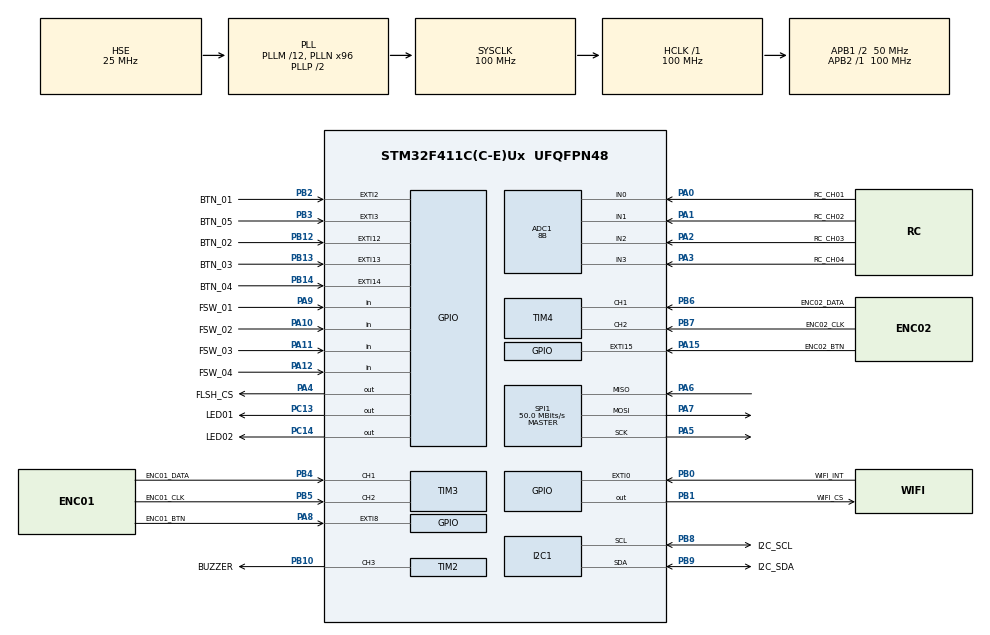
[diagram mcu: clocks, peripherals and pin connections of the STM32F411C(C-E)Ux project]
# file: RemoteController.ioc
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ADC1.Channel-0\#ChannelRegularConversion=ADC_CHANNEL_0
ADC1.Channel-2\#ChannelRegularConversion=ADC_CHANNEL_1
ADC1.DiscontinuousConvMode=DISABLE
ADC1.NbrOfConversion=2
ADC1.NbrOfConversionFlag=1
ADC1.Rank-0\#ChannelRegularConversion=1
ADC1.Rank-2\#ChannelRegularConversion=2
ADC1.Resolution=ADC_RESOLUTION_8B
ADC1.SamplingTime-0\#ChannelRegularConversion=ADC_SAMPLETIME_84CYCLES
ADC1.SamplingTime-2\#ChannelRegularConversion=ADC_SAMPLETIME_84CYCLES
ADC1.ScanConvMode=ENABLE
ADC1.master=1
I2C1.I2C_Mode=I2C_Fast
Mcu.Family=STM32F4
Mcu.Name=STM32F411C(C-E)Ux
Mcu.Package=UFQFPN48
NVIC.PriorityGroup=NVIC_PRIORITYGROUP_4
PA0-WKUP.GPIO_Label=RC_CH01
PA0-WKUP.Signal=ADCx_IN0
PA1.GPIO_Label=RC_CH02
PA1.Signal=ADCx_IN1
PA10.GPIO_Label=FSW_02
PA10.Signal=GPIO_Input
PA11.GPIO_Label=FSW_03
PA11.Signal=GPIO_Input
PA12.GPIO_Label=FSW_04
PA12.Signal=GPIO_Input
PA13.Mode=Serial_Wire
PA13.Signal=SYS_JTMS-SWDIO
PA14.Mode=Serial_Wire
PA14.Signal=SYS_JTCK-SWCLK
PA15.GPIO_Label=ENC02_BTN
PA15.Signal=GPXTI15
PA2.GPIO_Label=RC_CH03
PA2.Signal=ADCx_IN2
PA3.GPIO_Label=RC_CH04
PA3.Signal=ADCx_IN3
PA4.GPIO_Label=FLSH_CS
PA4.Signal=GPIO_Output
PA5.Mode=Full_Duplex_Master
PA5.Signal=SPI1_SCK
PA6.Mode=Full_Duplex_Master
PA6.Signal=SPI1_MISO
PA7.Mode=Full_Duplex_Master
PA7.Signal=SPI1_MOSI
PA8.GPIO_Label=ENC01_BTN
PA8.Signal=GPXTI8
PA9.GPIO_Label=FSW_01
PA9.Signal=GPIO_Input
PB0.GPIO_Label=WIFI_INT
PB0.Signal=GPXTI0
PB1.GPIO_Label=WIFI_CS
PB1.Signal=GPIO_Output
PB10.GPIO_Label=BUZZER
PB10.Signal=S_TIM2_CH3
PB12.GPIO_Label=BTN_02
PB12.Signal=GPXTI12
PB13.GPIO_Label=BTN_03
PB13.Signal=GPXTI13
PB14.GPIO_Label=BTN_04
PB14.Signal=GPXTI14
PB2.GPIO_Label=BTN_01
PB2.Signal=GPXTI2
PB3.GPIO_Label=BTN_05
PB3.Signal=GPXTI3
PB4.GPIO_Label=ENC01_DATA
PB4.Signal=S_TIM3_CH1
PB5.GPIO_Label=ENC01_CLK
PB5.Signal=S_TIM3_CH2
PB6.GPIO_Label=ENC02_DATA
PB6.Signal=S_TIM4_CH1
PB7.GPIO_Label=ENC02_CLK
PB7.Signal=S_TIM4_CH2
PB8.GPIO_Label=I2C_SCL
PB8.Mode=I2C
PB8.Signal=I2C1_SCL
PB9.GPIO_Label=I2C_SDA
PB9.Mode=I2C
PB9.Signal=I2C1_SDA
PC13-ANTI_TAMP.GPIO_Label=LED01
PC13-ANTI_TAMP.Signal=GPIO_Output
PC14-OSC32_IN.GPIO_Label=LED02
PC14-OSC32_IN.Signal=GPIO_Output
PH0\ -\ OSC_IN.Mode=HSE-External-Oscillator
PH0\ -\ OSC_IN.Signal=RCC_OSC_IN
PH1\ -\ OSC_OUT.Mode=HSE-External-Oscillator
PH1\ -\ OSC_OUT.Signal=RCC_OSC_OUT
ProjectManager.HeapSize=0x200
ProjectManager.StackSize=0x400
ProjectManager.TargetToolchain=STM32CubeIDE
RCC.48MHZClocksFreq_Value=50000000
RCC.AHBFreq_Value=100000000
RCC.APB1CLKDivider=RCC_HCLK_DIV2
RCC.APB1Freq_Value=50000000
RCC.APB1TimFreq_Value=100000000
RCC.APB2Freq_Value=100000000
RCC.APB2TimFreq_Value=100000000
RCC.CortexFreq_Value=100000000
RCC.HCLKFreq_Value=100000000
RCC.HSE_VALUE=25000000
RCC.HSI_VALUE=16000000
RCC.LSE_VALUE=32768
RCC.PLLM=12
RCC.PLLN=96
RCC.PLLSourceVirtual=RCC_PLLSOURCE_HSE
RCC.SYSCLKFreq_VALUE=100000000
RCC.SYSCLKSource=RCC_SYSCLKSOURCE_PLLCLK
RCC.VCOOutputFreq_Value=200000000
SH.ADCx_IN0.0=ADC1_IN0,IN0
SH.ADCx_IN1.0=ADC1_IN1,IN1
SH.ADCx_IN2.0=ADC1_IN2,IN2
SH.ADCx_IN3.0=ADC1_IN3,IN3
SH.S_TIM2_CH3.0=TIM2_CH3,PWM Generation3 CH3
SH.S_TIM3_CH1.0=TIM3_CH1,Encoder_Interface
SH.S_TIM3_CH2.0=TIM3_CH2,Encoder_Interface
SH.S_TIM4_CH1.0=TIM4_CH1,Encoder_Interface
SH.S_TIM4_CH2.0=TIM4_CH2,Encoder_Interface
SPI1.BaudRatePrescaler=SPI_BAUDRATEPRESCALER_2
SPI1.CalculateBaudRate=50.0 MBits/s
SPI1.Direction=SPI_DIRECTION_2LINES
SPI1.Mode=SPI_MODE_MASTER
SPI1.VirtualType=VM_MASTER
TIM2.Channel-PWM\ Generation3\ CH3=TIM_CHANNEL_3
board=custom

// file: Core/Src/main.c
/* USER CODE BEGIN Header */
/**
 ******************************************************************************
 * @file           : main.c
 * @brief          : Main program body
 ******************************************************************************
 * @attention
 *
 * Copyright (c) 2025 STMicroelectronics.
 * All rights reserved.
 *
 * This software is licensed under terms that can be found in the LICENSE file
 * in the root directory of this software component.
 * If no LICENSE file comes with this software, it is provided AS-IS.
 *
 ******************************************************************************
 */
/* USER CODE END Header */
#include "main.h"

/* USER CODE BEGIN Includes */
#include "stdio.h"
#include <stdint.h>
#include <u8g2.h>
/* USER CODE END Includes */

/* USER CODE BEGIN PD */
#define FILTER_DEPTH 10
/* USER CODE END PD */

ADC_HandleTypeDef hadc1;

I2C_HandleTypeDef hi2c1;

SPI_HandleTypeDef hspi1;

TIM_HandleTypeDef htim2;
TIM_HandleTypeDef htim3;
TIM_HandleTypeDef htim4;

/* USER CODE BEGIN PV */
uint16_t adcBuffer[FILTER_DEPTH];
uint32_t sum = 0;
uint8_t idx = 0;

u8g2_t u8g2;
/* USER CODE END PV */

void SystemClock_Config(void);
static void MX_GPIO_Init(void);
static void MX_ADC1_Init(void);
static void MX_I2C1_Init(void);
static void MX_SPI1_Init(void);
static void MX_TIM2_Init(void);
static void MX_TIM3_Init(void);
static void MX_TIM4_Init(void);

/* USER CODE BEGIN 0 */
uint16_t filter_adc(uint16_t new_sample)
{
	sum -= adcBuffer[idx];         // Remove old sample
	adcBuffer[idx] = new_sample;   // Add new sample
	sum += new_sample;

	idx++;
	if (idx >= FILTER_DEPTH) idx = 0;

	return (uint16_t)(sum / FILTER_DEPTH);
}

void readControlChannels()
{
	uint16_t adcValues[2];

	HAL_ADC_Start(&hadc1);  // Start ADC

	for (int i = 0; i < 2; i++) {
		HAL_ADC_PollForConversion(&hadc1, HAL_MAX_DELAY);      // Wait for conversion
		adcValues[i] = HAL_ADC_GetValue(&hadc1);               // Read channel value
	}

	HAL_ADC_Stop(&hadc1);

	char ch1[16];
	char ch2[16];

	sprintf(ch1, "%d", (adcValues[0]<<4));
	sprintf(ch2, "%d", (adcValues[1]<<4));

	u8g2_ClearBuffer(&u8g2);
	u8g2_SetFont(&u8g2, u8g2_font_5x8_tr);
	u8g2_DrawStr(&u8g2, 0, 6, ch1);
	u8g2_DrawStr(&u8g2, 0, 15, ch2);
	u8g2_SendBuffer(&u8g2);
}

uint8_t u8x8_byte_hw_i2c_hal(u8x8_t *u8g2, uint8_t msg, uint8_t arg_int, void *arg_ptr)
{
	/* u8g2/u8x8 will never send more than 32 bytes between START_TRANSFER and END_TRANSFER */
	/* add extra byte for the i2c address */
	static uint8_t buffer[34];
	static uint8_t buf_idx;
	uint8_t *data;
	switch(msg)  {
	case U8X8_MSG_BYTE_SEND:
		data = (uint8_t *)arg_ptr;
		while( arg_int > 0 )
		{
			buffer[buf_idx++] = *data;
			data++;
			arg_int--;
		}
		break;
	case U8X8_MSG_BYTE_INIT:
		/* add your custom code to init i2c subsystem */
		break;
	case U8X8_MSG_BYTE_SET_DC:
		/* ignored for i2c */
		break;
	case U8X8_MSG_BYTE_START_TRANSFER:
		buf_idx = 0;
		break;
	case U8X8_MSG_BYTE_END_TRANSFER:
		HAL_I2C_Master_Transmit(&hi2c1, u8x8_GetI2CAddress(u8g2), (uint8_t *)buffer, buf_idx, HAL_MAX_DELAY);
		break;
	default:
		return 0;
	}
	return 1;
}

uint8_t u8x8_gpio_and_delay_stm32_hal(u8x8_t *u8x8, uint8_t msg, uint8_t arg_int, void *arg_ptr)
{
	switch(msg) {
	case U8X8_MSG_DELAY_MILLI:
		HAL_Delay(arg_int);
		break;
		// Add GPIO control if needed
	default:
		break;
	}

	return 1;
}

void init_display()
{
	u8g2_Setup_ssd1306_i2c_128x64_noname_f(&u8g2, U8G2_R0, u8x8_byte_hw_i2c_hal, u8x8_gpio_and_delay_stm32_hal);
	u8g2_SetI2CAddress(&u8g2, 0x78);  // OLED address, often 0x78 or 0x7A
	u8g2_InitDisplay(&u8g2);
	u8g2_SetPowerSave(&u8g2, 0);
}
/* USER CODE END 0 */

int main(void)
{

	/* MCU Configuration--------------------------------------------------------*/

	/* Reset of all peripherals, Initializes the Flash interface and the Systick. */
	HAL_Init();

	/* Configure the system clock */
	SystemClock_Config();

	/* Initialize all configured peripherals */
	MX_GPIO_Init();
	MX_ADC1_Init();
	MX_I2C1_Init();
	MX_SPI1_Init();
	MX_TIM2_Init();
	MX_TIM3_Init();
	MX_TIM4_Init();
	/* USER CODE BEGIN 2 */
	init_display();
	/* USER CODE END 2 */

	/* Infinite loop */
	/* USER CODE BEGIN WHILE */
	while (1)
	{
		readControlChannels();
		/* USER CODE END WHILE */

	}
}

void SystemClock_Config(void)
{
	RCC_OscInitTypeDef RCC_OscInitStruct = {0};
	RCC_ClkInitTypeDef RCC_ClkInitStruct = {0};

	/** Configure the main internal regulator output voltage
	 */
	__HAL_RCC_PWR_CLK_ENABLE();
	__HAL_PWR_VOLTAGESCALING_CONFIG(PWR_REGULATOR_VOLTAGE_SCALE1);

	/** Initializes the RCC Oscillators according to the specified parameters
	 * in the RCC_OscInitTypeDef structure.
	 */
	RCC_OscInitStruct.OscillatorType = RCC_OSCILLATORTYPE_HSE;
	RCC_OscInitStruct.HSEState = RCC_HSE_ON;
	RCC_OscInitStruct.PLL.PLLState = RCC_PLL_ON;
	RCC_OscInitStruct.PLL.PLLSource = RCC_PLLSOURCE_HSE;
	RCC_OscInitStruct.PLL.PLLM = 12;
	RCC_OscInitStruct.PLL.PLLN = 96;
	RCC_OscInitStruct.PLL.PLLP = RCC_PLLP_DIV2;
	RCC_OscInitStruct.PLL.PLLQ = 4;
	if (HAL_RCC_OscConfig(&RCC_OscInitStruct) != HAL_OK)
	{
		Error_Handler();
	}

	/** Initializes the CPU, AHB and APB buses clocks
	 */
	RCC_ClkInitStruct.ClockType = RCC_CLOCKTYPE_HCLK|RCC_CLOCKTYPE_SYSCLK
			|RCC_CLOCKTYPE_PCLK1|RCC_CLOCKTYPE_PCLK2;
	RCC_ClkInitStruct.SYSCLKSource = RCC_SYSCLKSOURCE_PLLCLK;
	RCC_ClkInitStruct.AHBCLKDivider = RCC_SYSCLK_DIV1;
	RCC_ClkInitStruct.APB1CLKDivider = RCC_HCLK_DIV2;
	RCC_ClkInitStruct.APB2CLKDivider = RCC_HCLK_DIV1;

	if (HAL_RCC_ClockConfig(&RCC_ClkInitStruct, FLASH_LATENCY_3) != HAL_OK)
	{
		Error_Handler();
	}
}

static void MX_ADC1_Init(void)
{

	ADC_ChannelConfTypeDef sConfig = {0};

	/** Configure the global features of the ADC (Clock, Resolution, Data Alignment and number of conversion)
	 */
	hadc1.Instance = ADC1;
	hadc1.Init.ClockPrescaler = ADC_CLOCK_SYNC_PCLK_DIV4;
	hadc1.Init.Resolution = ADC_RESOLUTION_8B;
	hadc1.Init.ScanConvMode = ENABLE;
	hadc1.Init.ContinuousConvMode = DISABLE;
	hadc1.Init.DiscontinuousConvMode = DISABLE;
	hadc1.Init.ExternalTrigConvEdge = ADC_EXTERNALTRIGCONVEDGE_NONE;
	hadc1.Init.ExternalTrigConv = ADC_SOFTWARE_START;
	hadc1.Init.DataAlign = ADC_DATAALIGN_RIGHT;
	hadc1.Init.NbrOfConversion = 2;
	hadc1.Init.DMAContinuousRequests = DISABLE;
	hadc1.Init.EOCSelection = ADC_EOC_SINGLE_CONV;
	if (HAL_ADC_Init(&hadc1) != HAL_OK)
	{
		Error_Handler();
	}

	/** Configure for the selected ADC regular channel its corresponding rank in the sequencer and its sample time.
	 */
	sConfig.Channel = ADC_CHANNEL_0;
	sConfig.Rank = 1;
	sConfig.SamplingTime = ADC_SAMPLETIME_84CYCLES;
	if (HAL_ADC_ConfigChannel(&hadc1, &sConfig) != HAL_OK)
	{
		Error_Handler();
	}

	/** Configure for the selected ADC regular channel its corresponding rank in the sequencer and its sample time.
	 */
	sConfig.Channel = ADC_CHANNEL_1;
	sConfig.Rank = 2;
	if (HAL_ADC_ConfigChannel(&hadc1, &sConfig) != HAL_OK)
	{
		Error_Handler();
	}

}

static void MX_I2C1_Init(void)
{

	hi2c1.Instance = I2C1;
	hi2c1.Init.ClockSpeed = 400000;
	hi2c1.Init.DutyCycle = I2C_DUTYCYCLE_2;
	hi2c1.Init.OwnAddress1 = 0;
	hi2c1.Init.AddressingMode = I2C_ADDRESSINGMODE_7BIT;
	hi2c1.Init.DualAddressMode = I2C_DUALADDRESS_DISABLE;
	hi2c1.Init.OwnAddress2 = 0;
	hi2c1.Init.GeneralCallMode = I2C_GENERALCALL_DISABLE;
	hi2c1.Init.NoStretchMode = I2C_NOSTRETCH_DISABLE;
	if (HAL_I2C_Init(&hi2c1) != HAL_OK)
	{
		Error_Handler();
	}

}

static void MX_SPI1_Init(void)
{

	/* SPI1 parameter configuration*/
	hspi1.Instance = SPI1;
	hspi1.Init.Mode = SPI_MODE_MASTER;
	hspi1.Init.Direction = SPI_DIRECTION_2LINES;
	hspi1.Init.DataSize = SPI_DATASIZE_8BIT;
	hspi1.Init.CLKPolarity = SPI_POLARITY_LOW;
	hspi1.Init.CLKPhase = SPI_PHASE_1EDGE;
	hspi1.Init.NSS = SPI_NSS_SOFT;
	hspi1.Init.BaudRatePrescaler = SPI_BAUDRATEPRESCALER_2;
	hspi1.Init.FirstBit = SPI_FIRSTBIT_MSB;
	hspi1.Init.TIMode = SPI_TIMODE_DISABLE;
	hspi1.Init.CRCCalculation = SPI_CRCCALCULATION_DISABLE;
	hspi1.Init.CRCPolynomial = 10;
	if (HAL_SPI_Init(&hspi1) != HAL_OK)
	{
		Error_Handler();
	}

}

static void MX_TIM2_Init(void)
{

	TIM_MasterConfigTypeDef sMasterConfig = {0};
	TIM_OC_InitTypeDef sConfigOC = {0};

	htim2.Instance = TIM2;
	htim2.Init.Prescaler = 0;
	htim2.Init.CounterMode = TIM_COUNTERMODE_UP;
	htim2.Init.Period = 4294967295;
	htim2.Init.ClockDivision = TIM_CLOCKDIVISION_DIV1;
	htim2.Init.AutoReloadPreload = TIM_AUTORELOAD_PRELOAD_DISABLE;
	if (HAL_TIM_PWM_Init(&htim2) != HAL_OK)
	{
		Error_Handler();
	}
	sMasterConfig.MasterOutputTrigger = TIM_TRGO_RESET;
	sMasterConfig.MasterSlaveMode = TIM_MASTERSLAVEMODE_DISABLE;
	if (HAL_TIMEx_MasterConfigSynchronization(&htim2, &sMasterConfig) != HAL_OK)
	{
		Error_Handler();
	}
	sConfigOC.OCMode = TIM_OCMODE_PWM1;
	sConfigOC.Pulse = 0;
	sConfigOC.OCPolarity = TIM_OCPOLARITY_HIGH;
	sConfigOC.OCFastMode = TIM_OCFAST_DISABLE;
	if (HAL_TIM_PWM_ConfigChannel(&htim2, &sConfigOC, TIM_CHANNEL_3) != HAL_OK)
	{
		Error_Handler();
	}
	HAL_TIM_MspPostInit(&htim2);

}

static void MX_TIM3_Init(void)
{

	TIM_Encoder_InitTypeDef sConfig = {0};
	TIM_MasterConfigTypeDef sMasterConfig = {0};

	htim3.Instance = TIM3;
	htim3.Init.Prescaler = 0;
	htim3.Init.CounterMode = TIM_COUNTERMODE_UP;
	htim3.Init.Period = 65535;
	htim3.Init.ClockDivision = TIM_CLOCKDIVISION_DIV1;
	htim3.Init.AutoReloadPreload = TIM_AUTORELOAD_PRELOAD_DISABLE;
	sConfig.EncoderMode = TIM_ENCODERMODE_TI1;
	sConfig.IC1Polarity = TIM_ICPOLARITY_RISING;
	sConfig.IC1Selection = TIM_ICSELECTION_DIRECTTI;
	sConfig.IC1Prescaler = TIM_ICPSC_DIV1;
	sConfig.IC1Filter = 0;
	sConfig.IC2Polarity = TIM_ICPOLARITY_RISING;
	sConfig.IC2Selection = TIM_ICSELECTION_DIRECTTI;
	sConfig.IC2Prescaler = TIM_ICPSC_DIV1;
	sConfig.IC2Filter = 0;
	if (HAL_TIM_Encoder_Init(&htim3, &sConfig) != HAL_OK)
	{
		Error_Handler();
	}
	sMasterConfig.MasterOutputTrigger = TIM_TRGO_RESET;
	sMasterConfig.MasterSlaveMode = TIM_MASTERSLAVEMODE_DISABLE;
	if (HAL_TIMEx_MasterConfigSynchronization(&htim3, &sMasterConfig) != HAL_OK)
	{
		Error_Handler();
	}

}

static void MX_TIM4_Init(void)
{

	TIM_Encoder_InitTypeDef sConfig = {0};
	TIM_MasterConfigTypeDef sMasterConfig = {0};

	htim4.Instance = TIM4;
	htim4.Init.Prescaler = 0;
	htim4.Init.CounterMode = TIM_COUNTERMODE_UP;
	htim4.Init.Period = 65535;
	htim4.Init.ClockDivision = TIM_CLOCKDIVISION_DIV1;
	htim4.Init.AutoReloadPreload = TIM_AUTORELOAD_PRELOAD_DISABLE;
	sConfig.EncoderMode = TIM_ENCODERMODE_TI1;
	sConfig.IC1Polarity = TIM_ICPOLARITY_RISING;
	sConfig.IC1Selection = TIM_ICSELECTION_DIRECTTI;
	sConfig.IC1Prescaler = TIM_ICPSC_DIV1;
	sConfig.IC1Filter = 0;
	sConfig.IC2Polarity = TIM_ICPOLARITY_RISING;
	sConfig.IC2Selection = TIM_ICSELECTION_DIRECTTI;
	sConfig.IC2Prescaler = TIM_ICPSC_DIV1;
	sConfig.IC2Filter = 0;
	if (HAL_TIM_Encoder_Init(&htim4, &sConfig) != HAL_OK)
	{
		Error_Handler();
	}
	sMasterConfig.MasterOutputTrigger = TIM_TRGO_RESET;
	sMasterConfig.MasterSlaveMode = TIM_MASTERSLAVEMODE_DISABLE;
	if (HAL_TIMEx_MasterConfigSynchronization(&htim4, &sMasterConfig) != HAL_OK)
	{
		Error_Handler();
	}

}

static void MX_GPIO_Init(void)
{
	GPIO_InitTypeDef GPIO_InitStruct = {0};

	/* GPIO Ports Clock Enable */
	__HAL_RCC_GPIOC_CLK_ENABLE();
	__HAL_RCC_GPIOH_CLK_ENABLE();
	__HAL_RCC_GPIOA_CLK_ENABLE();
	__HAL_RCC_GPIOB_CLK_ENABLE();

	/*Configure GPIO pin Output Level */
	HAL_GPIO_WritePin(GPIOC, LED01_Pin|LED02_Pin, GPIO_PIN_RESET);

	/*Configure GPIO pin Output Level */
	HAL_GPIO_WritePin(FLSH_CS_GPIO_Port, FLSH_CS_Pin, GPIO_PIN_RESET);

	/*Configure GPIO pin Output Level */
	HAL_GPIO_WritePin(WIFI_CS_GPIO_Port, WIFI_CS_Pin, GPIO_PIN_RESET);

	/*Configure GPIO pins : LED01_Pin LED02_Pin */
	GPIO_InitStruct.Pin = LED01_Pin|LED02_Pin;
	GPIO_InitStruct.Mode = GPIO_MODE_OUTPUT_PP;
	GPIO_InitStruct.Pull = GPIO_NOPULL;
	GPIO_InitStruct.Speed = GPIO_SPEED_FREQ_LOW;
	HAL_GPIO_Init(GPIOC, &GPIO_InitStruct);

	/*Configure GPIO pin : FLSH_CS_Pin */
	GPIO_InitStruct.Pin = FLSH_CS_Pin;
	GPIO_InitStruct.Mode = GPIO_MODE_OUTPUT_PP;
	GPIO_InitStruct.Pull = GPIO_NOPULL;
	GPIO_InitStruct.Speed = GPIO_SPEED_FREQ_LOW;
	HAL_GPIO_Init(FLSH_CS_GPIO_Port, &GPIO_InitStruct);

	/*Configure GPIO pins : WIFI_INT_Pin BTN_01_Pin BTN_02_Pin BTN_03_Pin
                           BTN_04_Pin BTN_05_Pin */
	GPIO_InitStruct.Pin = WIFI_INT_Pin|BTN_01_Pin|BTN_02_Pin|BTN_03_Pin
			|BTN_04_Pin|BTN_05_Pin;
	GPIO_InitStruct.Mode = GPIO_MODE_IT_RISING;
	GPIO_InitStruct.Pull = GPIO_NOPULL;
	HAL_GPIO_Init(GPIOB, &GPIO_InitStruct);

	/*Configure GPIO pin : WIFI_CS_Pin */
	GPIO_InitStruct.Pin = WIFI_CS_Pin;
	GPIO_InitStruct.Mode = GPIO_MODE_OUTPUT_PP;
	GPIO_InitStruct.Pull = GPIO_NOPULL;
	GPIO_InitStruct.Speed = GPIO_SPEED_FREQ_LOW;
	HAL_GPIO_Init(WIFI_CS_GPIO_Port, &GPIO_InitStruct);

	/*Configure GPIO pins : ENC01_BTN_Pin ENC02_BTN_Pin */
	GPIO_InitStruct.Pin = ENC01_BTN_Pin|ENC02_BTN_Pin;
	GPIO_InitStruct.Mode = GPIO_MODE_IT_RISING;
	GPIO_InitStruct.Pull = GPIO_NOPULL;
	HAL_GPIO_Init(GPIOA, &GPIO_InitStruct);

	/*Configure GPIO pins : FSW_01_Pin FSW_02_Pin FSW_03_Pin FSW_04_Pin */
	GPIO_InitStruct.Pin = FSW_01_Pin|FSW_02_Pin|FSW_03_Pin|FSW_04_Pin;
	GPIO_InitStruct.Mode = GPIO_MODE_INPUT;
	GPIO_InitStruct.Pull = GPIO_NOPULL;
	HAL_GPIO_Init(GPIOA, &GPIO_InitStruct);

}

void Error_Handler(void)
{
	__disable_irq();
	while (1)
	{
	}
}
